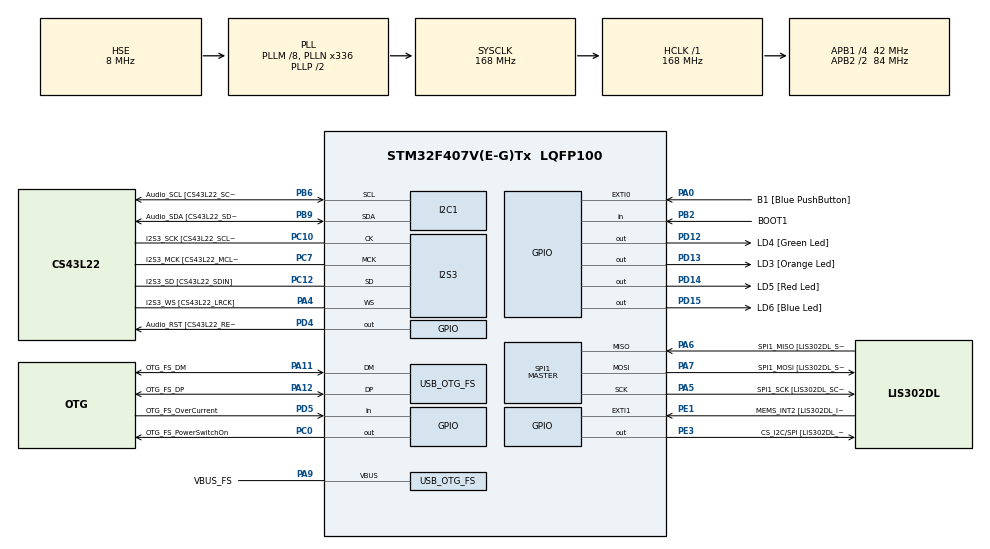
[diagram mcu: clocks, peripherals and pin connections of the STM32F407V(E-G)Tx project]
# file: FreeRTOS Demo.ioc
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FREERTOS.Tasks01=defaultTask,0,128,StartDefaultTask,Default,NULL
I2S3.AudioFreq-Half_Duplex_Master=I2S_AUDIOFREQ_96K
I2S3.ErrorAudioFreq=-2.34 %
I2S3.ErrorAudioFreq-Half_Duplex_Master=0.8 %
I2S3.FullDuplexMode=I2S_FULLDUPLEXMODE_DISABLE
I2S3.Instance=SPI$Index
I2S3.RealAudioFreq=93.75 KHz
I2S3.RealAudioFreq-Half_Duplex_Master=96.774 KHz
I2S3.VirtualMode=I2S_MODE_MASTER
Mcu.Family=STM32F4
Mcu.Name=STM32F407V(E-G)Tx
Mcu.Package=LQFP100
NVIC.OTG_FS_IRQn=true\:5\:0\:false\:false\:true\:true\:true
NVIC.PriorityGroup=NVIC_PRIORITYGROUP_4
NVIC.TIM6_DAC_IRQn=true\:0\:0\:false\:false\:true\:false\:false
NVIC.TimeBase=TIM6_DAC_IRQn
NVIC.TimeBaseIP=TIM6
PA0-WKUP.GPIO_Label=B1 [Blue PushButton]
PA0-WKUP.GPIO_ModeDefaultEXTI=GPIO_MODE_EVT_RISING
PA0-WKUP.GPIO_PuPd=GPIO_NOPULL
PA0-WKUP.Signal=GPXTI0
PA10.GPIO_Label=OTG_FS_ID
PA10.GPIO_Mode=GPIO_MODE_AF_PP
PA10.GPIO_PuPd=GPIO_NOPULL
PA10.GPIO_Speed=GPIO_SPEED_FREQ_LOW
PA10.Signal=USB_OTG_FS_ID
PA11.GPIO_Label=OTG_FS_DM
PA11.GPIO_Mode=GPIO_MODE_AF_PP
PA11.GPIO_PuPd=GPIO_NOPULL
PA11.GPIO_Speed=GPIO_SPEED_FREQ_LOW
PA11.Mode=Host_Only
PA11.Signal=USB_OTG_FS_DM
PA12.GPIO_Label=OTG_FS_DP
PA12.GPIO_Mode=GPIO_MODE_AF_PP
PA12.GPIO_PuPd=GPIO_NOPULL
PA12.GPIO_Speed=GPIO_SPEED_FREQ_LOW
PA12.Mode=Host_Only
PA12.Signal=USB_OTG_FS_DP
PA13.GPIO_Label=SWDIO
PA13.Mode=Serial_Wire
PA13.Signal=SYS_JTMS-SWDIO
PA14.GPIO_Label=SWCLK
PA14.Mode=Serial_Wire
PA14.Signal=SYS_JTCK-SWCLK
PA4.GPIO_Label=I2S3_WS [CS43L22_LRCK]
PA4.GPIO_Mode=GPIO_MODE_AF_PP
PA4.GPIO_PuPd=GPIO_NOPULL
PA4.GPIO_Speed=GPIO_SPEED_FREQ_LOW
PA4.Mode=Half_Duplex_Master
PA4.Signal=I2S3_WS
PA5.GPIO_Label=SPI1_SCK [LIS302DL_SCL/SPC]
PA5.GPIO_Mode=GPIO_MODE_AF_PP
PA5.GPIO_PuPd=GPIO_NOPULL
PA5.GPIO_Speed=GPIO_SPEED_FREQ_LOW
PA5.Mode=Full_Duplex_Master
PA5.Signal=SPI1_SCK
PA6.GPIO_Label=SPI1_MISO [LIS302DL_SDO]
PA6.GPIO_Mode=GPIO_MODE_AF_PP
PA6.GPIO_PuPd=GPIO_NOPULL
PA6.GPIO_Speed=GPIO_SPEED_FREQ_LOW
PA6.Mode=Full_Duplex_Master
PA6.Signal=SPI1_MISO
PA7.GPIO_Label=SPI1_MOSI [LIS302DL_SDA/SDI/SDO]
PA7.GPIO_Mode=GPIO_MODE_AF_PP
PA7.GPIO_PuPd=GPIO_NOPULL
PA7.GPIO_Speed=GPIO_SPEED_FREQ_LOW
PA7.Mode=Full_Duplex_Master
PA7.Signal=SPI1_MOSI
PA9.GPIO_Label=VBUS_FS
PA9.GPIO_Mode=GPIO_MODE_INPUT
PA9.GPIO_PuPd=GPIO_NOPULL
PA9.Mode=Activate_VBUS
PA9.Signal=USB_OTG_FS_VBUS
PB10.GPIO_Label=CLK_IN [MP45DT02_CLK]
PB10.GPIO_Mode=GPIO_MODE_AF_PP
PB10.GPIO_PuPd=GPIO_NOPULL
PB10.GPIO_Speed=GPIO_SPEED_FREQ_LOW
PB10.Signal=I2S2_CK
PB2.GPIO_Label=BOOT1
PB2.GPIO_Mode=GPIO_MODE_INPUT
PB2.GPIO_PuPd=GPIO_NOPULL
PB2.Signal=GPIO_Input
PB3.GPIO_Label=SWO
PB3.Signal=SYS_JTDO-SWO
PB6.GPIO_Label=Audio_SCL [CS43L22_SCL]
PB6.GPIO_Mode=GPIO_MODE_AF_OD
PB6.GPIO_PuPd=GPIO_NOPULL
PB6.GPIO_Speed=GPIO_SPEED_FREQ_LOW
PB6.Mode=I2C
PB6.Signal=I2C1_SCL
PB9.GPIO_Label=Audio_SDA [CS43L22_SDA]
PB9.GPIO_Mode=GPIO_MODE_AF_OD
PB9.GPIO_PuPd=GPIO_NOPULL
PB9.GPIO_Speed=GPIO_SPEED_FREQ_LOW
PB9.Mode=I2C
PB9.Signal=I2C1_SDA
PC0.GPIO_Label=OTG_FS_PowerSwitchOn
PC0.GPIO_PuPd=GPIO_NOPULL
PC0.GPIO_Speed=GPIO_SPEED_FREQ_LOW
PC0.PinState=GPIO_PIN_SET
PC0.Signal=GPIO_Output
PC10.GPIO_Label=I2S3_SCK [CS43L22_SCLK]
PC10.GPIO_Mode=GPIO_MODE_AF_PP
PC10.GPIO_PuPd=GPIO_NOPULL
PC10.GPIO_Speed=GPIO_SPEED_FREQ_LOW
PC10.Mode=Half_Duplex_Master
PC10.Signal=I2S3_CK
PC12.GPIO_Label=I2S3_SD [CS43L22_SDIN]
PC12.GPIO_Mode=GPIO_MODE_AF_PP
PC12.GPIO_PuPd=GPIO_NOPULL
PC12.GPIO_Speed=GPIO_SPEED_FREQ_LOW
PC12.Mode=Half_Duplex_Master
PC12.Signal=I2S3_SD
PC14-OSC32_IN.GPIO_Label=PC14-OSC32_IN
PC14-OSC32_IN.Mode=LSE-External-Oscillator
PC14-OSC32_IN.Signal=RCC_OSC32_IN
PC15-OSC32_OUT.GPIO_Label=PC15-OSC32_OUT
PC15-OSC32_OUT.Mode=LSE-External-Oscillator
PC15-OSC32_OUT.Signal=RCC_OSC32_OUT
PC3.GPIO_Label=PDM_OUT [MP45DT02_DOUT]
PC3.GPIO_Mode=GPIO_MODE_AF_PP
PC3.GPIO_PuPd=GPIO_NOPULL
PC3.GPIO_Speed=GPIO_SPEED_FREQ_LOW
PC3.Signal=I2S2_SD
PC7.GPIO_Label=I2S3_MCK [CS43L22_MCLK]
PC7.GPIO_Mode=GPIO_MODE_AF_PP
PC7.GPIO_PuPd=GPIO_NOPULL
PC7.GPIO_Speed=GPIO_SPEED_FREQ_LOW
PC7.Mode=Master_Clock_Activated
PC7.Signal=I2S3_MCK
PD12.GPIO_Label=LD4 [Green Led]
PD12.GPIO_PuPd=GPIO_NOPULL
PD12.GPIO_Speed=GPIO_SPEED_FREQ_LOW
PD12.Signal=GPIO_Output
PD13.GPIO_Label=LD3 [Orange Led]
PD13.GPIO_PuPd=GPIO_NOPULL
PD13.GPIO_Speed=GPIO_SPEED_FREQ_LOW
PD13.Signal=GPIO_Output
PD14.GPIO_Label=LD5 [Red Led]
PD14.GPIO_PuPd=GPIO_NOPULL
PD14.GPIO_Speed=GPIO_SPEED_FREQ_LOW
PD14.Signal=GPIO_Output
PD15.GPIO_Label=LD6 [Blue Led]
PD15.GPIO_PuPd=GPIO_NOPULL
PD15.GPIO_Speed=GPIO_SPEED_FREQ_LOW
PD15.Signal=GPIO_Output
PD4.GPIO_Label=Audio_RST [CS43L22_RESET]
PD4.GPIO_PuPd=GPIO_NOPULL
PD4.GPIO_Speed=GPIO_SPEED_FREQ_LOW
PD4.Signal=GPIO_Output
PD5.GPIO_Label=OTG_FS_OverCurrent
PD5.GPIO_Mode=GPIO_MODE_INPUT
PD5.GPIO_PuPd=GPIO_NOPULL
PD5.Signal=GPIO_Input
PE1.GPIO_Label=MEMS_INT2 [LIS302DL_INT2]
PE1.GPIO_ModeDefaultEXTI=GPIO_MODE_EVT_RISING
PE1.GPIO_PuPd=GPIO_NOPULL
PE1.Signal=GPXTI1
PE3.GPIO_Label=CS_I2C/SPI [LIS302DL_CS_I2C/SPI]
PE3.GPIO_PuPd=GPIO_NOPULL
PE3.GPIO_Speed=GPIO_SPEED_FREQ_LOW
PE3.Signal=GPIO_Output
PH0-OSC_IN.GPIO_Label=PH0-OSC_IN
PH0-OSC_IN.Mode=HSE-External-Oscillator
PH0-OSC_IN.Signal=RCC_OSC_IN
PH1-OSC_OUT.GPIO_Label=PH1-OSC_OUT
PH1-OSC_OUT.Mode=HSE-External-Oscillator
PH1-OSC_OUT.Signal=RCC_OSC_OUT
ProjectManager.HeapSize=0x200
ProjectManager.StackSize=0x400
ProjectManager.TargetToolchain=EWARM V8
RCC.48MHZClocksFreq_Value=48000000
RCC.AHBFreq_Value=168000000
RCC.APB1CLKDivider=RCC_HCLK_DIV4
RCC.APB1Freq_Value=42000000
RCC.APB1TimFreq_Value=84000000
RCC.APB2CLKDivider=RCC_HCLK_DIV2
RCC.APB2Freq_Value=84000000
RCC.APB2TimFreq_Value=168000000
RCC.CortexFreq_Value=168000000
RCC.HCLKFreq_Value=168000000
RCC.HSE_VALUE=8000000
RCC.HSI_VALUE=16000000
RCC.PLLM=8
RCC.PLLN=336
RCC.PLLQ=7
RCC.SYSCLKFreq_VALUE=168000000
RCC.SYSCLKSource=RCC_SYSCLKSOURCE_PLLCLK
RCC.VCOOutputFreq_Value=336000000
SPI1.BaudRatePrescaler-Full_Duplex_Master=SPI_BAUDRATEPRESCALER_2
SPI1.CalculateBaudRate-Full_Duplex_Master=42.0 MBits/s
SPI1.Direction=SPI_DIRECTION_2LINES
SPI1.Mode=SPI_MODE_MASTER
SPI1.Mode-Full_Duplex_Master=SPI_MODE_MASTER
SPI1.VirtualType=VM_MASTER
USB_HOST.BSP.number=1
USB_HOST.USBH_HandleTypeDef-CDC_FS=hUsbHostFS
USB_HOST.VirtualModeFS=Cdc
USB_HOST0.BSP.STBoard=false
USB_HOST0.BSP.api=Unknown
USB_HOST0.BSP.i2caddr=0
USB_HOST0.BSP.i2creg=0
USB_HOST0.BSP.instance=PC0
USB_HOST0.BSP.ip=GPIO
USB_HOST0.BSP.mode=Output
USB_HOST0.BSP.name=Drive_VBUS_FS
USB_HOST0.BSP.solution=PC0
USB_OTG_FS.VirtualMode=Host_Only
USB_OTG_FS.phy_itface=HCD_PHY_EMBEDDED
VP_FREERTOS_VS_ENABLE.Mode=Enabled
VP_SYS_VS_tim6.Mode=TIM6
VP_USB_HOST_VS_USB_HOST_CDC_FS.Mode=CDC_FS
board=STM32F4DISCOVERY

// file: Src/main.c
/**
  ******************************************************************************
  * @file           : main.c
  * @brief          : Main program body
  ******************************************************************************
  * This notice applies to any and all portions of this file
  * that are not between comment pairs USER CODE BEGIN and
  * USER CODE END. Other portions of this file, whether
  * inserted by the user or by software development tools
  * are owned by their respective copyright owners.
  *
  * Copyright (c) 2018 STMicroelectronics International N.V.
  * All rights reserved.
  *
  * Redistribution and use in source and binary forms, with or without
  * modification, are permitted, provided that the following conditions are met:
  *
  * 1. Redistribution of source code must retain the above copyright notice,
  *    this list of conditions and the following disclaimer.
  * 2. Redistributions in binary form must reproduce the above copyright notice,
  *    this list of conditions and the following disclaimer in the documentation
  *    and/or other materials provided with the distribution.
  * 3. Neither the name of STMicroelectronics nor the names of other
  *    contributors to this software may be used to endorse or promote products
  *    derived from this software without specific written permission.
  * 4. This software, including modifications and/or derivative works of this
  *    software, must execute solely and exclusively on microcontroller or
  *    microprocessor devices manufactured by or for STMicroelectronics.
  * 5. Redistribution and use of this software other than as permitted under
  *    this license is void and will automatically terminate your rights under
  *    this license.
  *
  * THIS SOFTWARE IS PROVIDED BY STMICROELECTRONICS AND CONTRIBUTORS "AS IS"
  * AND ANY EXPRESS, IMPLIED OR STATUTORY WARRANTIES, INCLUDING, BUT NOT
  * LIMITED TO, THE IMPLIED WARRANTIES OF MERCHANTABILITY, FITNESS FOR A
  * PARTICULAR PURPOSE AND NON-INFRINGEMENT OF THIRD PARTY INTELLECTUAL PROPERTY
  * RIGHTS ARE DISCLAIMED TO THE FULLEST EXTENT PERMITTED BY LAW. IN NO EVENT
  * SHALL STMICROELECTRONICS OR CONTRIBUTORS BE LIABLE FOR ANY DIRECT, INDIRECT,
  * INCIDENTAL, SPECIAL, EXEMPLARY, OR CONSEQUENTIAL DAMAGES (INCLUDING, BUT NOT
  * LIMITED TO, PROCUREMENT OF SUBSTITUTE GOODS OR SERVICES; LOSS OF USE, DATA,
  * OR PROFITS; OR BUSINESS INTERRUPTION) HOWEVER CAUSED AND ON ANY THEORY OF
  * LIABILITY, WHETHER IN CONTRACT, STRICT LIABILITY, OR TORT (INCLUDING
  * NEGLIGENCE OR OTHERWISE) ARISING IN ANY WAY OUT OF THE USE OF THIS SOFTWARE,
  * EVEN IF ADVISED OF THE POSSIBILITY OF SUCH DAMAGE.
  *
  ******************************************************************************
  */
#include "main.h"
#include "stm32f4xx_hal.h"
#include "cmsis_os.h"
#include "usb_host.h"
#include "stdio.h"

I2C_HandleTypeDef hi2c1;

I2S_HandleTypeDef hi2s3;

SPI_HandleTypeDef hspi1;

osThreadId defaultTaskHandle;

/* USER CODE BEGIN PV */
/* Private variables ---------------------------------------------------------*/

/* USER CODE END PV */

void SystemClock_Config(void);
static void MX_GPIO_Init(void);
static void MX_I2C1_Init(void);
static void MX_I2S3_Init(void);
static void MX_SPI1_Init(void);
void StartDefaultTask(void const * argument);

/* USER CODE BEGIN PFP */
/* Private function prototypes -----------------------------------------------*/

/* USER CODE END PFP */

/* USER CODE BEGIN 0 */

void blink_led(void *pvParameters)
{
  const TickType_t xDelay = 500 / portTICK_PERIOD_MS;

  while(1)
  {
    printf("flash\n");
    HAL_GPIO_WritePin(GPIOD, LD3_Pin, GPIO_PIN_SET);
    vTaskDelay(xDelay);
    HAL_GPIO_WritePin(GPIOD, LD3_Pin, GPIO_PIN_RESET);
    vTaskDelay(xDelay);
  }
}

void prime_calc(void *pvParameters)
{
  uint32_t n, i, m = 0;
  uint8_t flag;

  while(1)
  {
    flag = 0;
    m = n/2;
    for (i=2;i<=m;i++)
    {
      //printf("testing %i against %i\n", n, i);
      if (n % i == 0)
      {
        flag = 1;
        //printf("%i is not prime\n", n);
        HAL_GPIO_WritePin(GPIOD, LD4_Pin, GPIO_PIN_RESET);
      }
    }
    if (flag == 0)
    {
      //printf("%i is prime\n", n);
      HAL_GPIO_WritePin(GPIOD, LD4_Pin, GPIO_PIN_SET);
    }
    n++;
    vTaskDelay(20);
  }
}

/* USER CODE END 0 */

int main(void)
{

  /* MCU Configuration----------------------------------------------------------*/

  /* Reset of all peripherals, Initializes the Flash interface and the Systick. */
  HAL_Init();

  /* Configure the system clock */
  SystemClock_Config();

  /* Initialize all configured peripherals */
  MX_GPIO_Init();
  MX_I2C1_Init();
  MX_I2S3_Init();
  MX_SPI1_Init();
  /* USER CODE BEGIN 2 */
  xTaskCreate(blink_led, (char*) "blink led", 512, NULL, 2, NULL);
  xTaskCreate(prime_calc, (char*) "prime calc", 2048, NULL, 1, NULL);

  /* USER CODE END 2 */

  /* Create the thread(s) */
  /* definition and creation of defaultTask */
  osThreadDef(defaultTask, StartDefaultTask, osPriorityNormal, 0, 128);
  defaultTaskHandle = osThreadCreate(osThread(defaultTask), NULL);

  /* Start scheduler */
  osKernelStart();

  /* We should never get here as control is now taken by the scheduler */

  /* Infinite loop */
  while (1)
  {

  }

}

void SystemClock_Config(void)
{

  RCC_OscInitTypeDef RCC_OscInitStruct;
  RCC_ClkInitTypeDef RCC_ClkInitStruct;
  RCC_PeriphCLKInitTypeDef PeriphClkInitStruct;

    /**Configure the main internal regulator output voltage
    */
  __HAL_RCC_PWR_CLK_ENABLE();

  __HAL_PWR_VOLTAGESCALING_CONFIG(PWR_REGULATOR_VOLTAGE_SCALE1);

    /**Initializes the CPU, AHB and APB busses clocks
    */
  RCC_OscInitStruct.OscillatorType = RCC_OSCILLATORTYPE_HSE;
  RCC_OscInitStruct.HSEState = RCC_HSE_ON;
  RCC_OscInitStruct.PLL.PLLState = RCC_PLL_ON;
  RCC_OscInitStruct.PLL.PLLSource = RCC_PLLSOURCE_HSE;
  RCC_OscInitStruct.PLL.PLLM = 8;
  RCC_OscInitStruct.PLL.PLLN = 336;
  RCC_OscInitStruct.PLL.PLLP = RCC_PLLP_DIV2;
  RCC_OscInitStruct.PLL.PLLQ = 7;
  if (HAL_RCC_OscConfig(&RCC_OscInitStruct) != HAL_OK)
  {
    _Error_Handler(__FILE__, __LINE__);
  }

    /**Initializes the CPU, AHB and APB busses clocks
    */
  RCC_ClkInitStruct.ClockType = RCC_CLOCKTYPE_HCLK|RCC_CLOCKTYPE_SYSCLK
                              |RCC_CLOCKTYPE_PCLK1|RCC_CLOCKTYPE_PCLK2;
  RCC_ClkInitStruct.SYSCLKSource = RCC_SYSCLKSOURCE_PLLCLK;
  RCC_ClkInitStruct.AHBCLKDivider = RCC_SYSCLK_DIV1;
  RCC_ClkInitStruct.APB1CLKDivider = RCC_HCLK_DIV4;
  RCC_ClkInitStruct.APB2CLKDivider = RCC_HCLK_DIV2;

  if (HAL_RCC_ClockConfig(&RCC_ClkInitStruct, FLASH_LATENCY_5) != HAL_OK)
  {
    _Error_Handler(__FILE__, __LINE__);
  }

  PeriphClkInitStruct.PeriphClockSelection = RCC_PERIPHCLK_I2S;
  PeriphClkInitStruct.PLLI2S.PLLI2SN = 192;
  PeriphClkInitStruct.PLLI2S.PLLI2SR = 2;
  if (HAL_RCCEx_PeriphCLKConfig(&PeriphClkInitStruct) != HAL_OK)
  {
    _Error_Handler(__FILE__, __LINE__);
  }

    /**Configure the Systick interrupt time
    */
  HAL_SYSTICK_Config(HAL_RCC_GetHCLKFreq()/1000);

    /**Configure the Systick
    */
  HAL_SYSTICK_CLKSourceConfig(SYSTICK_CLKSOURCE_HCLK);

  /* SysTick_IRQn interrupt configuration */
  HAL_NVIC_SetPriority(SysTick_IRQn, 15, 0);
}

/* I2C1 init function */
static void MX_I2C1_Init(void)
{

  hi2c1.Instance = I2C1;
  hi2c1.Init.ClockSpeed = 100000;
  hi2c1.Init.DutyCycle = I2C_DUTYCYCLE_2;
  hi2c1.Init.OwnAddress1 = 0;
  hi2c1.Init.AddressingMode = I2C_ADDRESSINGMODE_7BIT;
  hi2c1.Init.DualAddressMode = I2C_DUALADDRESS_DISABLE;
  hi2c1.Init.OwnAddress2 = 0;
  hi2c1.Init.GeneralCallMode = I2C_GENERALCALL_DISABLE;
  hi2c1.Init.NoStretchMode = I2C_NOSTRETCH_DISABLE;
  if (HAL_I2C_Init(&hi2c1) != HAL_OK)
  {
    _Error_Handler(__FILE__, __LINE__);
  }

}

/* I2S3 init function */
static void MX_I2S3_Init(void)
{

  hi2s3.Instance = SPI3;
  hi2s3.Init.Mode = I2S_MODE_MASTER_TX;
  hi2s3.Init.Standard = I2S_STANDARD_PHILIPS;
  hi2s3.Init.DataFormat = I2S_DATAFORMAT_16B;
  hi2s3.Init.MCLKOutput = I2S_MCLKOUTPUT_ENABLE;
  hi2s3.Init.AudioFreq = I2S_AUDIOFREQ_96K;
  hi2s3.Init.CPOL = I2S_CPOL_LOW;
  hi2s3.Init.ClockSource = I2S_CLOCK_PLL;
  hi2s3.Init.FullDuplexMode = I2S_FULLDUPLEXMODE_DISABLE;
  if (HAL_I2S_Init(&hi2s3) != HAL_OK)
  {
    _Error_Handler(__FILE__, __LINE__);
  }

}

/* SPI1 init function */
static void MX_SPI1_Init(void)
{

  /* SPI1 parameter configuration*/
  hspi1.Instance = SPI1;
  hspi1.Init.Mode = SPI_MODE_MASTER;
  hspi1.Init.Direction = SPI_DIRECTION_2LINES;
  hspi1.Init.DataSize = SPI_DATASIZE_8BIT;
  hspi1.Init.CLKPolarity = SPI_POLARITY_LOW;
  hspi1.Init.CLKPhase = SPI_PHASE_1EDGE;
  hspi1.Init.NSS = SPI_NSS_SOFT;
  hspi1.Init.BaudRatePrescaler = SPI_BAUDRATEPRESCALER_2;
  hspi1.Init.FirstBit = SPI_FIRSTBIT_MSB;
  hspi1.Init.TIMode = SPI_TIMODE_DISABLE;
  hspi1.Init.CRCCalculation = SPI_CRCCALCULATION_DISABLE;
  hspi1.Init.CRCPolynomial = 10;
  if (HAL_SPI_Init(&hspi1) != HAL_OK)
  {
    _Error_Handler(__FILE__, __LINE__);
  }

}

/** Configure pins as
        * Analog
        * Input
        * Output
        * EVENT_OUT
        * EXTI
     PC3   ------> I2S2_SD
     PB10   ------> I2S2_CK
*/
static void MX_GPIO_Init(void)
{

  GPIO_InitTypeDef GPIO_InitStruct;

  /* GPIO Ports Clock Enable */
  __HAL_RCC_GPIOE_CLK_ENABLE();
  __HAL_RCC_GPIOC_CLK_ENABLE();
  __HAL_RCC_GPIOH_CLK_ENABLE();
  __HAL_RCC_GPIOA_CLK_ENABLE();
  __HAL_RCC_GPIOB_CLK_ENABLE();
  __HAL_RCC_GPIOD_CLK_ENABLE();

  /*Configure GPIO pin Output Level */
  HAL_GPIO_WritePin(CS_I2C_SPI_GPIO_Port, CS_I2C_SPI_Pin, GPIO_PIN_RESET);

  /*Configure GPIO pin Output Level */
  HAL_GPIO_WritePin(OTG_FS_PowerSwitchOn_GPIO_Port, OTG_FS_PowerSwitchOn_Pin, GPIO_PIN_SET);

  /*Configure GPIO pin Output Level */
  HAL_GPIO_WritePin(GPIOD, LD4_Pin|LD3_Pin|LD5_Pin|LD6_Pin
                          |Audio_RST_Pin, GPIO_PIN_RESET);

  /*Configure GPIO pin : CS_I2C_SPI_Pin */
  GPIO_InitStruct.Pin = CS_I2C_SPI_Pin;
  GPIO_InitStruct.Mode = GPIO_MODE_OUTPUT_PP;
  GPIO_InitStruct.Pull = GPIO_NOPULL;
  GPIO_InitStruct.Speed = GPIO_SPEED_FREQ_LOW;
  HAL_GPIO_Init(CS_I2C_SPI_GPIO_Port, &GPIO_InitStruct);

  /*Configure GPIO pin : OTG_FS_PowerSwitchOn_Pin */
  GPIO_InitStruct.Pin = OTG_FS_PowerSwitchOn_Pin;
  GPIO_InitStruct.Mode = GPIO_MODE_OUTPUT_PP;
  GPIO_InitStruct.Pull = GPIO_NOPULL;
  GPIO_InitStruct.Speed = GPIO_SPEED_FREQ_LOW;
  HAL_GPIO_Init(OTG_FS_PowerSwitchOn_GPIO_Port, &GPIO_InitStruct);

  /*Configure GPIO pin : PDM_OUT_Pin */
  GPIO_InitStruct.Pin = PDM_OUT_Pin;
  GPIO_InitStruct.Mode = GPIO_MODE_AF_PP;
  GPIO_InitStruct.Pull = GPIO_NOPULL;
  GPIO_InitStruct.Speed = GPIO_SPEED_FREQ_LOW;
  GPIO_InitStruct.Alternate = GPIO_AF5_SPI2;
  HAL_GPIO_Init(PDM_OUT_GPIO_Port, &GPIO_InitStruct);

  /*Configure GPIO pin : B1_Pin */
  GPIO_InitStruct.Pin = B1_Pin;
  GPIO_InitStruct.Mode = GPIO_MODE_EVT_RISING;
  GPIO_InitStruct.Pull = GPIO_NOPULL;
  HAL_GPIO_Init(B1_GPIO_Port, &GPIO_InitStruct);

  /*Configure GPIO pin : BOOT1_Pin */
  GPIO_InitStruct.Pin = BOOT1_Pin;
  GPIO_InitStruct.Mode = GPIO_MODE_INPUT;
  GPIO_InitStruct.Pull = GPIO_NOPULL;
  HAL_GPIO_Init(BOOT1_GPIO_Port, &GPIO_InitStruct);

  /*Configure GPIO pin : CLK_IN_Pin */
  GPIO_InitStruct.Pin = CLK_IN_Pin;
  GPIO_InitStruct.Mode = GPIO_MODE_AF_PP;
  GPIO_InitStruct.Pull = GPIO_NOPULL;
  GPIO_InitStruct.Speed = GPIO_SPEED_FREQ_LOW;
  GPIO_InitStruct.Alternate = GPIO_AF5_SPI2;
  HAL_GPIO_Init(CLK_IN_GPIO_Port, &GPIO_InitStruct);

  /*Configure GPIO pins : LD4_Pin LD3_Pin LD5_Pin LD6_Pin
                           Audio_RST_Pin */
  GPIO_InitStruct.Pin = LD4_Pin|LD3_Pin|LD5_Pin|LD6_Pin
                          |Audio_RST_Pin;
  GPIO_InitStruct.Mode = GPIO_MODE_OUTPUT_PP;
  GPIO_InitStruct.Pull = GPIO_NOPULL;
  GPIO_InitStruct.Speed = GPIO_SPEED_FREQ_LOW;
  HAL_GPIO_Init(GPIOD, &GPIO_InitStruct);

  /*Configure GPIO pin : OTG_FS_OverCurrent_Pin */
  GPIO_InitStruct.Pin = OTG_FS_OverCurrent_Pin;
  GPIO_InitStruct.Mode = GPIO_MODE_INPUT;
  GPIO_InitStruct.Pull = GPIO_NOPULL;
  HAL_GPIO_Init(OTG_FS_OverCurrent_GPIO_Port, &GPIO_InitStruct);

  /*Configure GPIO pin : MEMS_INT2_Pin */
  GPIO_InitStruct.Pin = MEMS_INT2_Pin;
  GPIO_InitStruct.Mode = GPIO_MODE_EVT_RISING;
  GPIO_InitStruct.Pull = GPIO_NOPULL;
  HAL_GPIO_Init(MEMS_INT2_GPIO_Port, &GPIO_InitStruct);

}

void StartDefaultTask(void const * argument)
{
  /* init code for USB_HOST */
  MX_USB_HOST_Init();

  for(;;)
  {
    osDelay(1);
  }
}

void HAL_TIM_PeriodElapsedCallback(TIM_HandleTypeDef *htim)
{
  if (htim->Instance == TIM6) {
    HAL_IncTick();
  }
}

void _Error_Handler(char *file, int line)
{
  while(1)
  {
  }
}

/************************ (C) COPYRIGHT STMicroelectronics *****END OF FILE****/
